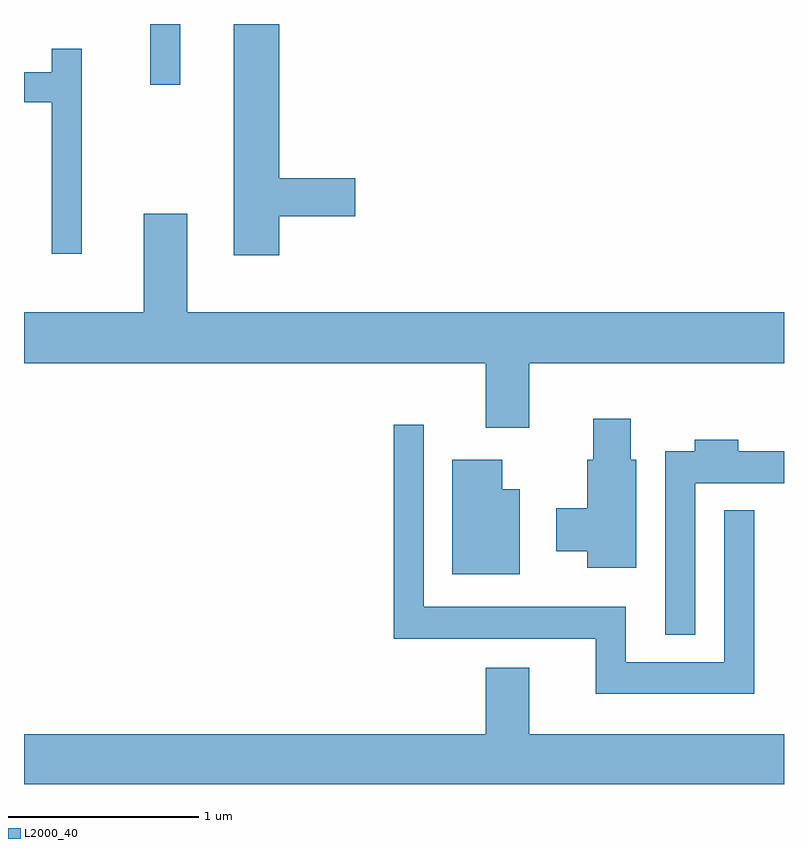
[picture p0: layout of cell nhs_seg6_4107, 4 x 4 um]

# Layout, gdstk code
import gdstk
lib = gdstk.Library(unit=1e-6, precision=1e-09)
def R(c, l, rs):  # rectangles x0, y0, x1, y1
    for r in rs: c.add(gdstk.rectangle(r[:2], r[2:], *l))
def P(c, l, *ps):  # polygons
    for p in ps: c.add(gdstk.Polygon(p, *l))
L2000_40 = (2000, 40)

nhs_seg6_4107 = lib.new_cell('nhs_seg6_4107')
R(nhs_seg6_4107, L2000_40, [(310.276,1655.843,310.434,1656.162)])
P(nhs_seg6_4107, L2000_40, [(310.954,1655.151),(311.354,1655.151),(311.354,1655.349),(310.954,1655.349),(310.954,1656.162),(310.716,1656.162),(310.716,1654.946),(310.954,1654.946)],
  [(309.914,1656.033),(309.756,1656.033),(309.756,1655.909),(309.611,1655.909),(309.611,1655.751),(309.756,1655.751),(309.756,1654.953),(309.914,1654.953)],
  [(312.269,1654.376),(313.611,1654.376),(313.611,1654.644),(310.469,1654.644),(310.469,1655.164),(310.241,1655.164),(310.241,1654.644),(309.611,1654.644),(309.611,1654.376),(312.041,1654.376),(312.041,1654.036),(312.269,1654.036)],
  [(312.834,1653.869),(312.804,1653.869),(312.804,1654.084),(312.606,1654.084),(312.606,1653.869),(312.576,1653.869),(312.576,1653.614),(312.411,1653.614),(312.411,1653.386),(312.576,1653.386),(312.576,1653.301),(312.834,1653.301)],
  [(313.454,1653.603),(313.296,1653.603),(313.296,1652.804),(312.779,1652.804),(312.779,1653.094),(311.714,1653.094),(311.714,1654.053),(311.556,1654.053),(311.556,1652.926),(312.621,1652.926),(312.621,1652.636),(313.454,1652.636)],
  [(313.144,1653.746),(313.611,1653.746),(313.611,1653.914),(313.369,1653.914),(313.369,1653.974),(313.141,1653.974),(313.141,1653.914),(312.986,1653.914),(312.986,1652.948),(313.144,1652.948)],
  [(312.219,1653.714),(312.129,1653.714),(312.129,1653.869),(311.866,1653.869),(311.866,1653.266),(312.219,1653.266)],
  [(309.611,1652.162),(313.611,1652.162),(313.611,1652.424),(312.269,1652.424),(312.269,1652.774),(312.041,1652.774),(312.041,1652.424),(309.611,1652.424)])

lib.write_gds('nhs_seg6_4107.gds')
